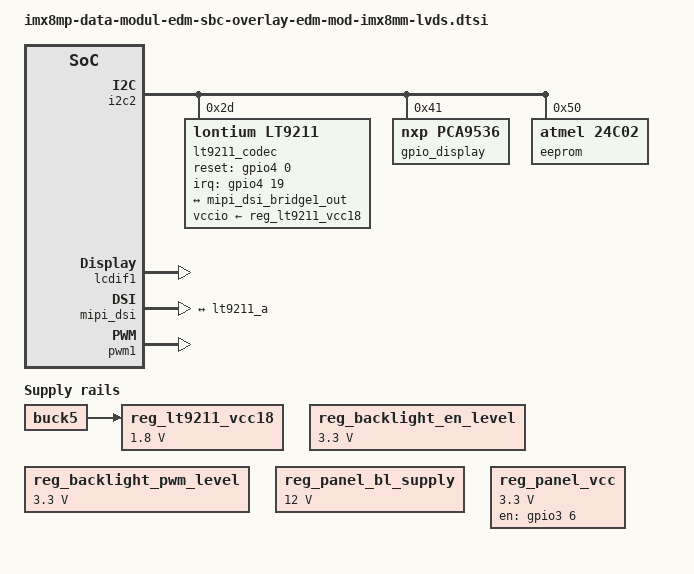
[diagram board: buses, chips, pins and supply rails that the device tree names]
// SPDX-License-Identifier: (GPL-2.0+ OR MIT)
/*
 * Copyright 2022-2026 Marek Vasut
 */
/dts-v1/;
/plugin/;

#include <dt-bindings/gpio/gpio.h>
#include <dt-bindings/interrupt-controller/arm-gic.h>

&{/} {
	reg_backlight_en_level: regulator-backlight-en-level {
		compatible = "regulator-gpio";
		regulator-name = "Backlight_SEL_EN";
		regulator-type = "voltage";
		gpios = <&gpio_display 3 GPIO_ACTIVE_HIGH>; /* SEL_EN */
		states = <3300000 0x0>,
			 <5000000 0x1>;

		/* Default setting: lowest supported voltage. */
		regulator-min-microvolt = <3300000>;
		regulator-max-microvolt = <3300000>;
	};

	reg_backlight_pwm_level: regulator-backlight-pwm-level {
		compatible = "regulator-gpio";
		regulator-name = "Backlight_SEL_PWM";
		regulator-type = "voltage";
		gpios = <&gpio_display 2 GPIO_ACTIVE_HIGH>; /* SEL_PWM */
		states = <3300000 0x0>,
			 <5000000 0x1>;

		/* Default setting: lowest supported voltage. */
		regulator-min-microvolt = <3300000>;
		regulator-max-microvolt = <3300000>;
	};

	reg_panel_bl_supply: regulator-panel-bl-supply {
		compatible = "regulator-fixed";
		regulator-name = "BKLT0";
		regulator-min-microvolt = <12000000>;
		regulator-max-microvolt = <12000000>;
	};

	reg_panel_bl: regulator-panel-bl {
		compatible = "regulator-fixed";
		pinctrl-names = "default";
		pinctrl-0 = <&pinctrl_panel_backlight>;
		regulator-name = "PANEL_BL";
		regulator-min-microvolt = <3300000>;
		regulator-max-microvolt = <3300000>;
		gpio = <&gpio3 0 0>;
		enable-active-high;
		vin-supply = <&reg_panel_bl_supply>;
		/* Used by panels which enable PWM signal before BL ON/OFF */
		status = "disabled";
	};

	reg_lt9211_vcc18: regulator-lt9211-vcc18 {
		compatible = "regulator-fixed";
		regulator-name = "LT9211_VCC18";
		regulator-min-microvolt = <1800000>;
		regulator-max-microvolt = <1800000>;
		vin-supply = <&buck5>;	/* X400 pin 51, +1V8_S0 */
	};
};

&i2c2 {	/* Display connector I2C */
	#address-cells = <1>;
	#size-cells = <0>;

	lt9211_codec: bridge@2d {
		pinctrl-names = "default";
		pinctrl-0 = <&pinctrl_panel_expansion>;
		compatible = "lontium,lt9211";
		reg = <0x2d>;
		interrupts-extended = <&gpio4 19 IRQ_TYPE_EDGE_FALLING>;
		reset-gpios = <&gpio4 0 GPIO_ACTIVE_HIGH>;
		vccio-supply = <&reg_lt9211_vcc18>;

		ports {
			#address-cells = <1>;
			#size-cells = <0>;

			port@0 {
				reg = <0>;

				lt9211_a: endpoint {
					data-lanes = <1 2 3 4>;
					remote-endpoint = <&mipi_dsi_bridge1_out>;
				};
			};
		};
	};

	gpio_display: io-expander@41 {
		compatible = "nxp,pca9536";
		reg = <0x41>;
		gpio-controller;
		#gpio-cells = <2>;
		gpio-line-names = "SEL_12V", "SEL_5V", "SEL_PWM", "SEL_EN";
	};

	eeprom@50 {
		compatible = "atmel,24c02";
		reg = <0x50>;
		pagesize = <16>;
	};
};

&iomuxc {
	/* Free &pinctrl_panel_expansion from hog for lt9211_codec above */
	pinctrl-0 = <&pinctrl_hog_misc>, <&pinctrl_hog_feature>,
		    <&pinctrl_hog_panel>, <&pinctrl_hog_sbc>;
};

&lcdif1 {
	status = "okay";
};

&mipi_dsi {
	status = "okay";

	ports {
		#address-cells = <1>;
		#size-cells = <0>;

		port@1 {
			reg = <1>;

			mipi_dsi_bridge1_out: endpoint {
				clock-lanes = <0>;
				data-lanes = <1 2 3 4>;
				/* Clock and data lanes have DN/DP swapped */
				lane-polarities = <1 1 1 1 1>;
				remote-endpoint = <&lt9211_a>;
			};
		};
	};
};

&pwm1 {
	status = "okay";
};

&reg_panel_vcc {
	compatible = "regulator-gpio";
	regulator-type = "voltage";
	enable-gpios = <&gpio3 6 0>;
	enable-active-high;
	status = "okay";

	/*
	 * AP63300 voltage divider settings:
	 *   R1=16k2
	 *   R2=5k23 with optional series Rs=7k68 (5V) or Rt=1k5 (12V)
	 *
	 * 1 / Rx = (1 / R2) [ + (1 / Rs)][ + (1 / Rt)]
	 * Vout = 0.8 * ((R1 / Rx) + 1)
	 */
	gpios = <&gpio_display 1 GPIO_ACTIVE_HIGH>,	/* 5V */
		<&gpio_display 0 GPIO_ACTIVE_HIGH>;	/* 12V */
	states = <3300000 0x0>,
		 <5000000 0x1>,
		 <12000000 0x2>,
		 <3900000 0x3>;

	/* Default setting: lowest supported voltage. */
	gpios-states = <0 0>;	/* Default GPIO state is LOW/LOW, so 3V3 out */
	regulator-min-microvolt = <3300000>;
	regulator-max-microvolt = <3300000>;
};
